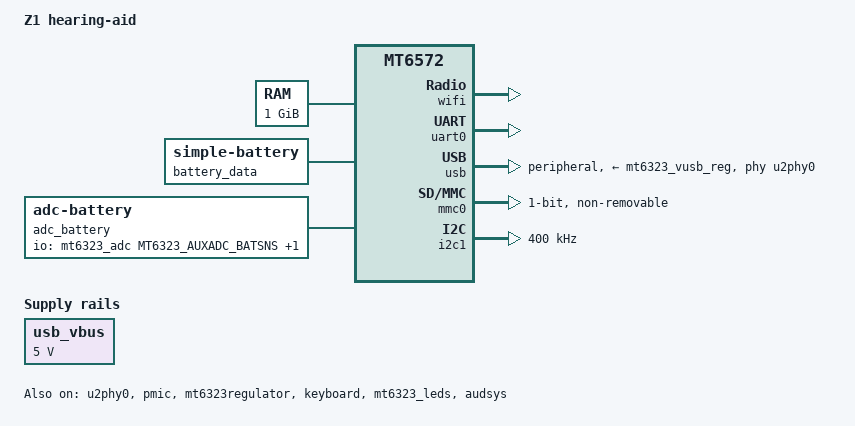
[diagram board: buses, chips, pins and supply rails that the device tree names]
// SPDX-License-Identifier: GPL-2.0
/*
 * Z1 / V100 hearing-aid device (佳伯听力机 Z1)
 * Based on mt6572-jty-d101.dts by Max Shevchenko.
 * Minimal bring-up Z1 dts: eMMC (mmc0) + UART + USB only.
 * Screen (ST7785M 240x320 DSI) intentionally disabled for first boot.
 */

/dts-v1/;
#include <dt-bindings/gpio/gpio.h>
#include <dt-bindings/input/input.h>
#include "mt6572.dtsi"
#include "mt6323.dtsi"

/ {
	model = "Z1 hearing-aid";
	compatible = "jbo,z1", "mediatek,mt6572";

	aliases {
		serial0 = &uart0;
	};

	chosen {
		#address-cells = <1>;
		#size-cells = <1>;
		ranges;
		/*
		 * Z1 diagnostic: do not instantiate an early console from DT.
		 * v13.4 correction (review W1, 2026-08-29): this LK does NOT
		 * forward the boot.img header --cmdline (board logs 8/26-27 show
		 * the kernel cmdline equals these DT bootargs verbatim), so the
		 * console selection lives HERE. The mainline 8250 registers the
		 * uart0 OF node as ttyS0 (alias serial0), not ttyMT0; the last
		 * console= wins /dev/console, so ttyS0 last gives the serial
		 * port both the kernel log tail and the final console getty.
		 */
		bootargs = "console=ttyS0,921600n8 root=/dev/ram panic=10 loglevel=7 clk_ignore_unused regulator_ignore_unused oops=panic sysrq_always_enabled rdinit=/init earlycon=mtk8250,0x11005000 androidboot.hardware=z1 androidboot.selinux=permissive firmware_class.path=/system/etc/firmware printk.devkmsg=on";
		/*
		 * Z1 LK relocates the MTK ROOTFS payload to 0x84100000.  Its
		 * ATAG_INITRD2 handoff is not present at runtime, so provide the
		 * measured range explicitly for this packaged logger ramdisk.
		 * RULE: linux,initrd-end MUST equal 0x84100000 + ramdisk payload
		 * byte count; it must be recomputed whenever the ramdisk is
		 * replaced or re-compressed, or the initrd gets truncated and
		 * the gzip stream aborts with "read error".
		 * Current payload: out/ramdisk_v13_5_acm.gz body is
		 * 1,269,042 (0x135d32) bytes (file is 1,269,554 B incl. the
		 * 512B MTK ROOTFS header), so end = 0x84100000 + 0x135d32.
		 * v13.3 ramdisk: /init rewritten to bind a mainline configfs
		 * CDC-ACM gadget -> /dev/ttyGS0 (replaces dead android_usb path).
		 * v13.3b: review fixes - full [acm] self-reporting (incl. ln -s
		 * result) and [ -e /dev/tty0 ] guard on the tty0 getty.
		 * v13.4: same /init as v13.3b + sbin/i2cprobe (narrow-address
		 * probe + read-only register dump) for the CST836U@0x15 /
		 * S6-FTS@0x38 touch identity evidence run.
		 * v13.4r (review fixes 2026-08-29): /init PID1 console getty now
		 * respawns in a loop (shell exit no longer kills PID1 -> panic
		 * reboot); i2cprobe binds I2C_SLAVE before SMBus quick (was
		 * probing stale client addr) and reports EBUSY distinctly;
		 * stray packaging artifact body_new.gz dropped from archive.
		 * v13.5 (2026-08-29): = v13.4r + klog-over-ACM forwarding — /init
		 * backgrounded setsid mirror: dmesg full ring dump then live
		 * tail -f /proc/kmsg to /dev/ttyGS0 ([klog] banners), kernel-log
		 * channel for S6 which has no UART testpoints.
		 */
		linux,initrd-start = <0x84100000>;
		linux,initrd-end = <0x842e1abf>;

		/* LK leaves OVL layer 2 scanning this 240x320 RGB565 surface. */
		framebuffer0: framebuffer@bfd00000 {
			compatible = "simple-framebuffer";
			reg = <0xbfd00000 0x28000>;
			width = <240>;
			height = <320>;
			stride = <512>;
			format = "r5g6b5";
		};
	};

	memory@80000000 {
		device_type = "memory";
		reg = <0x80000000 0x40000000>;
	};

	reserved-memory {
		#address-cells = <1>;
		#size-cells = <1>;
		ranges;

		/*
		 * CONN (WiFi/BT) carveout relocated from the original 0x80000000
		 * (right at RAM base) up to 0xbe000000 so it no longer shadows the
		 * low-RAM region the Z1 LK/preloader uses during early boot.
		 * Kept as 1 MiB no-map to match the old size.  The mt6572-connsys
		 * driver zeroes the "shared EMI" area it gets from connsys_pwr
		 * reg[1] (see below).
		 *
		 * NOTE: this EMI base relocation is a bring-up workaround -- the
		 * vendor CONN firmware may be built against a fixed shared-EMI
		 * base of 0x80080000.  If the CONN MCU misbehaves after this
		 * change, revert both this carveout AND connsys_pwr reg[1]
		 * together.
		 */
		connsys@be000000 {
			reg = <0xbe000000 0x100000>;
			no-map;
		};

		framebuffer_reserved: framebuffer@bf400000 {
			reg = <0xbf400000 0xc00000>;
			no-map;
		};

		default-pool {
			compatible = "shared-dma-pool";
			size = <0x6000000>;
			alloc-ranges = <0x90000000 0x10000000>;
			reusable;
			linux,cma-default;
		};
	};

	/*
	 * CONN (WiFi/BT) subsystem consumer. This node binds the in-tree
	 * driver drivers/soc/mediatek/mtk6572-connsys.c (compatible
	 * "mediatek,mt6572-connsys"): it powers VCN18/VCN28, powers on the
	 * MT6572 CONN SCPSYS domain (registered default-off in mt6572.dtsi),
	 * polls the CONN MCU chip ID at 0x18070000+0x8 and zeroes the shared
	 * EMI at 0xbe080000. Keep status="disabled" until the board bring-up
	 * sequence is gated-tested; also keep the 1 MiB reserved-memory
	 * carveout at 0xbe000000 (above) mapped when enabling.
	 *
	 * reg[1] is the shared EMI, relocated to 0xbe080000 to match the
	 * reserved-memory carveout above.  This is a temporary relocation:
	 * the vendor CONN firmware may be fixed at 0x80080000 -- if the CONN
	 * MCU does not come up, revert both reg[1] and the carveout together.
	 */
	connsys_pwr: connsys@18070000 {
		compatible = "mediatek,mt6572-connsys";
		reg = <0x18070000 0x1000>,
		      <0xbe080000 0x55c00>;	/* CONN MCU config + shared EMI */
		power-domains = <&spm MT6572_POWER_DOMAIN_CONN>;
		vcn18-supply = <&mt6323_vcn18_reg>;
		vcn28-supply = <&mt6323_vcn28_reg>;
		vcn33_bt-supply = <&mt6323_vcn33_bt_reg>;
		vcn33_wifi-supply = <&mt6323_vcn33_wifi_reg>;
		status = "disabled";
	};

	/*
	 * CONNSYS out-of-tree stack DT nodes (mt6572-connsys-modules, forward
	 * port of the vendor conn_soc family).  These bind the external .ko
	 * platform drivers:
	 *   btif@1100e000      -> mtk_btif_drv.ko  ("mediatek,btif")
	 *   connectivity@18070000 -> mtk_stp_wmt_soc.ko / mtk_wmt_wifi_soc.ko
	 *                        ("mediatek,mt6572-consys")
	 *   wifi@180f0000      -> wlan_gen2.ko     ("mediatek,wifi")
	 *
	 * IRQ numbers are the vendor MT6572 GIC SPI IDs (mt_irq.h,
	 * GIC_PRIVATE_SIGNALS + N): BTIF=52, APDMA-BTIF-TX=41, APDMA-BTIF-RX=42,
	 * CONN2AP/BTIF-wakeup=122, WF_HIF=123, CONN_WDT=124.
	 *
	 * The old in-tree connsys_pwr node above stays disabled: it binds
	 * drivers/soc/mediatek/mtk6572-connsys.c and must not double-power the
	 * CONN domain / regulators with this stack.
	 */
	btif: btif@1100e000 {
		compatible = "mediatek,btif";
		#address-cells = <1>;
		#size-cells = <1>;
		/*
		 * ranges needed: btif_rx/btif_tx child nodes are of_iomap'd by
		 * the vendor driver (hal_dma_set_default_setting). Without
		 * ranges, of_translate_one fails (drivers/of/address.c) and
		 * of_iomap returns NULL -> hal_btif_dma_hw_init Oopses on
		 * NULL base during CONNSYS func-on. Empty ranges = 1:1.
		 */
		ranges;
		reg = <0x1100e000 0x1000>,
		      <0x11000380 0x80>,
		      <0x11000400 0x80>;
		interrupts = <GIC_SPI 52 IRQ_TYPE_LEVEL_LOW>;
		clocks = <&topckgen CLK_TOP_BTIF>,
			 <&topckgen CLK_TOP_APDMA>;
		clock-names = "btifc", "apdmac";

		btif_tx: btif_tx@11000380 {
			compatible = "mediatek,btif_tx";
			reg = <0x11000380 0x80>;
			interrupts = <GIC_SPI 41 IRQ_TYPE_LEVEL_LOW>;
		};

		btif_rx: btif_rx@11000400 {
			compatible = "mediatek,btif_rx";
			reg = <0x11000400 0x80>;
			interrupts = <GIC_SPI 42 IRQ_TYPE_LEVEL_LOW>;
		};
	};

	connectivity: connectivity@18070000 {
		compatible = "mediatek,mt6572-consys";
		/*
		 * reg[0] = CONN MCU config (chip ID poll @ +0x8, expects 0x6572).
		 * reg[1] = TOPCKGEN block base: the driver does of_iomap(node,1)
		 * and pokes AP2CONN_OSC_EN at base+0x1800 (phys 0x10001800),
		 * so the range must cover 0x10001800.
		 */
		reg = <0x18070000 0x1000>,
		      <0x10000000 0x2000>;
		interrupts = <GIC_SPI 122 IRQ_TYPE_LEVEL_LOW>,	/* CONN2AP / BTIF wakeup */
			     <GIC_SPI 124 IRQ_TYPE_LEVEL_LOW>;	/* CONN WDT */
		mediatek,pwrap-regmap = <&pwrap>;
		power-domains = <&spm MT6572_POWER_DOMAIN_CONN>;
		resets = <&watchdog MT6572_TOPRGU_CONNSYS_SW_RST>;
		reset-names = "connsys";
		vcn18-supply = <&mt6323_vcn18_reg>;
		vcn28-supply = <&mt6323_vcn28_reg>;
		vcn33_bt-supply = <&mt6323_vcn33_bt_reg>;
		vcn33_wifi-supply = <&mt6323_vcn33_wifi_reg>;
	};

	wifi: wifi@180f0000 {
		compatible = "mediatek,wifi";
		reg = <0x180f0000 0x1000>;
		interrupts = <GIC_SPI 123 IRQ_TYPE_LEVEL_LOW>;
	};

	/*
	 * Audio front-end (AFE). Physical base 0x11140000 is the MT6572
	 * audsys block. This node binds the in-tree ASoC driver
	 * sound/soc/mediatek/mt6572/mt6572-afe-pcm.c (compatible
	 * "mediatek,mt6572-audio"): it maps the AFE registers, requests the
	 * "audio"/"audio_intbus_sel" topckgen clocks and wires the ASYS IRQ.
	 * Keep disabled until CONFIG_SND_SOC_MT6572 + the MT6323 codec path
	 * are ready; the IRQ below is an unverified placeholder (the driver
	 * notes the real ASYS/AFE IRQ number is not confirmed yet). The Z1
	 * machine card would be a separate "mediatek,mt6572-sound" node
	 * (mt6572-machine.c) referencing this node via "mediatek,platform".
	 */
	audsys: audio@11140000 {
		compatible = "mediatek,mt6572-audio";
		reg = <0x11140000 0x600>;
		clocks = <&topckgen CLK_TOP_AUDIO>,
			 <&topckgen CLK_TOP_AUDIO_INTBUS_SEL>;
		clock-names = "audio", "audio_intbus_sel";
		interrupts = <GIC_SPI 64 IRQ_TYPE_LEVEL_LOW>; /* vendor AudDrv IRQ (MT_AFE_IRQ_MCU_ID=GIC_SPI 64) */
		status = "okay";
	};

	/*
	 * Machine sound card (mt6572-machine.c, compatible
	 * "mediatek,mt6572-sound").  Binds the AFE platform (&audsys) to the
	 * MT6323 PMIC codec (&codec, a child of &pmic via mt6323.dtsi).
	 *
	 * ENABLE CONDITIONS (all three required):
	 *   - CONFIG_SND_SOC_MT6572=y/m and the mt6323 codec module built
	 *   - &audsys above set to status="okay" (AFE clocks/IRQ wired)
	 *   - pwrap write-deny lifted so the MT6323 codec register path works
	 * Once those hold, set status="okay" here (and on &audsys) to probe
	 * the card.  Until then this node is kept disabled so the DTS parses
	 * cleanly but no card is instantiated.
	 */
	sound: sound {
		compatible = "mediatek,mt6572-mt6323-sound";
		audio-routing = "Speaker", "Speaker", "Earpiece", "Earpiece";
		mediatek,platform = <&audsys>;
		mediatek,audio-codec = <&codec>;
		status = "okay";
	};

	/*
	 * Battery monitoring: static pack characteristics + ADC-backed meter.
	 *
	 * battery (simple-battery) holds only the static Z1 pack data.  The
	 * values below are a generic Li-ion 3.7 V / ~2000 mAh placeholder --
	 * TBC against the real Z1 battery on first physical measurement.
	 *
	 * adc_battery (adc-battery) reads two MT6323 AUXADC channels via
	 * &mt6323_adc (mediatek,mt6323-auxadc, a child of &pmic):
	 *   - BATSNS (channel 7)  -> "voltage"     (battery terminal voltage)
	 *   - BAT_TEMP (channel 2) -> "temperature" (battery temperature)
	 *
	 * Keep status="disabled" until the kernel is built with:
	 *   CONFIG_POWER_SUPPLY=y          (currently not set)
	 *   CONFIG_GENERIC_ADC_BATTERY=y   (adc-battery driver, not set)
	 *   CONFIG_MEDIATEK_MT6323_AUXADC=y (IIO auxadc channels, not set)
	 * Only CONFIG_IIO=y is enabled in the current Z1 .config; without
	 * MEDIATEK_MT6323_AUXADC there are no IIO channels for adc-battery
	 * to consume, so leave this disabled until those three are on.
	 */
	/*
	 * battery_data (simple-battery): static pack characteristics.
	 * Named "battery_data" so the ADC-backed meter can own the node
	 * name "battery" — Android's health HAL looks up
	 * /sys/class/power_supply/battery/, and generic-adc-battery names
	 * its supply after the DT node (psy_desc->name = dev_name).
	 */
	battery_data: battery_data {
		compatible = "simple-battery";
		charge-full-design-microamp-hours = <2000000>; /* TBC: Z1 pack */
		voltage-max-design-microvolt = <4200000>;
		voltage-min-design-microvolt = <3300000>;
		status = "okay";
	};

	/* The meter owns the "battery" name for the Android health HAL. */
	adc_battery: battery {
		compatible = "adc-battery";
		io-channels = <&mt6323_adc MT6323_AUXADC_BATSNS>,
			      <&mt6323_adc MT6323_AUXADC_BAT_TEMP>;
		io-channel-names = "voltage", "temperature";
		monitored-battery = <&battery_data>;
		/*
		 * Generic Li-ion open-circuit discharge curve (uV, %),
		 * voltage descending. TBC against the real Z1 pack; adjust
		 * after first on-device voltage/percentage comparison.
		 */
		voltage-capacity-table = <
			4200000 100
			4150000 95
			4100000 89
			4050000 83
			4000000 77
			3950000 70
			3900000 62
			3850000 53
			3800000 43
			3750000 33
			3700000 23
			3650000 13
			3600000 6
			3450000 2
			3300000 0
		>;
		status = "okay";
	};

	/*
	 * Z1 USB VBUS supply (fixed regulator).
	 * Z1 operates exclusively as a USB device (CDC-ACM gadget). The USB PHY
	 * requires a VBUS supply to detect host connection and enter device mode.
	 * Without this, the PHY probe succeeds but UDC registration fails silently
	 * because the VBUS comparator never signals "device ready" to the MUSB core.
	 *
	 * This is a fixed regulator marked always-on because Z1 has no physical
	 * VBUS switch — the USB connector is wired directly to the PHY, and VBUS
	 * is always present when connected to a host.
	 */
	usb_vbus: regulator-usb-vbus {
		compatible = "regulator-fixed";
		regulator-name = "usb-vbus";
		regulator-min-microvolt = <5000000>;
		regulator-max-microvolt = <5000000>;
		regulator-always-on;
	};
};

&uart0 {
	status = "okay";
};

&usb {
	status = "okay";
	dr_mode = "peripheral";  /* Z1 only acts as USB device (CDC-ACM gadget); never host */
	/*
	 * USB peripheral mode requires proper PHY initialization.
	 * The mt6572-usb2-phy driver performs HS slew-rate calibration
	 * which may timeout but continues with default values.
	 *
	 * VBUS supply: Z1 has no physical VBUS regulator; VBUS is provided
	 * by the USB host (PC). The PHY driver forces VBUS comparator on
	 * via software (reg 0x1a bit4). Adding explicit vbus-supply ensures
	 * the MUSB glue doesn't defer probe waiting for a regulator.
	 * If regulator framework can't find this supply, it auto-provides
	 * a dummy regulator that always returns success.
	 */
	phys = <&u2phy0>;
	phy-names = "usb2";
	vbus-supply = <&mt6323_vusb_reg>;
};

&u2phy0 {
	status = "okay";
	/*
	 * PHY probe happens early (0.097s in logs). The driver handles
	 * HS slew-rate calibration timeout gracefully with fallback values.
	 * No additional properties needed - reg and #phy-cells from base dtsi.
	 */
};

/*
 * PMIC subsystem bring-up (post eMMC): the MT6323 MFD exposes the power
 * key, RTC and regulators.  LK already left VEMC/VIO18 powered, so the
 * regulators probe read-only (the Z1 pwrap write-deny gate still blocks
 * MT6323 writes).  PMIC_EINT is GPIO7.
 */
&pmic {
	pinctrl-0 = <&pmic_int_pins>;
	pinctrl-names = "default";
	interrupts-extended = <&pio 7 IRQ_TYPE_LEVEL_HIGH>;
	status = "okay";
};

&mt6323regulator {
	status = "okay";
};

/*
 * eMMC VCC: LK leaves VEMC on, but the mmc0 node has no vmmc-supply and
 * the Z1 fork skips mmc_regulator_get_supply, so VEMC ends up with zero
 * consumers and regulator late-cleanup powers it off ~39.5s into boot.
 * That drops the eMMC rail and turns every subsequent block read into a
 * -110 R1B CMD6 busy abort.  Mark it always-on to keep the rail up.
 */
&mt6323_vemc3v3_reg {
	regulator-always-on;
};

/*
 * vmc/vmch (eMMC card power) + vusb (USB PHY): same zero-consumer trap as
 * VEMC.  mt6323.dtsi marks them regulator-boot-on (LK leaves them on) but
 * without always-on, regulator late-cleanup powers them off ~39.5s into boot
 * and the board resets (Jump to BL / preloader reboot loop).  Keep all three
 * on to stop the ~39s reboot cycle.  Z1 mmc0 has no vmmc-supply (fork skips
 * mmc_regulator_get_supply) so they have zero consumers and must be held up.
 */
&mt6323_vmc_reg {
	regulator-always-on;
};

&mt6323_vmch_reg {
	regulator-always-on;
};

&mt6323_vusb_reg {
	regulator-always-on;
};

/*
 * VGP1 = touch panel AVDD28 (2.8V) on Z1, and the exact same
 * zero-consumer trap as VEMC/VMC/VMCH/VUSB above -- but the one instance
 * that was left unfixed, and the reason every historical touch run failed.
 *
 * Evidence chain (2026-10-28, byte-level, see HANDOFF_20261028.md §4.1):
 *  - The only consumer in the whole tree is the (disabled) touchscreen@5d
 *    node: AVDD28-supply = <&mt6323_vgp1_reg>. The custom polled driver
 *    z1_cst836u.ko creates its own i2c client at runtime and therefore has
 *    NO devm_regulator_get() calls at all (grep: 0 hits) -- it never touches
 *    VGP1, it just assumes the rail is up.
 *  - z1_gpio_hunt.ko, the fallback hunter, says so in its own comments
 *    ("dts 已给 VGP1 加 always-on（上电根因已修）") -- but that edit was
 *    never actually made. Both drivers assume someone else powered it.
 *  - So VGP1 has zero consumers, mt6323.dtsi does NOT mark it boot-on
 *    (unlike vmc/vmch/vusb), and regulator late-cleanup leaves it off.
 *    Touch then NACKs at 0x15 forever: ENXIO = unpowered.
 *
 * This makes regulator_register() call _regulator_do_enable() directly at
 * probe time (drivers/regulator/core.c:1647-1685), so AVDD28 is up long
 * before z1_touch_load.sh runs in "on post-fs".
 *
 * Do NOT remove without replacing it with an explicit enable somewhere:
 * the driver does not enable it itself, so dropping this silently returns
 * the board to "touch chip absent or unpowered".
 */
&mt6323_vgp1_reg {
	regulator-always-on;
};

/*
 * PMIC power/home keys.  The MT6323 "home" key maps to KEY_VOLUMEDOWN (114)
 * which duplicates the matrix keypad MATRIX_KEY(1, 0, KEY_VOLUMEDOWN) (see
 * &keyboard).  Disable the PMIC home key so volume-down is reported once;
 * the PMIC power key (KEY_POWER, 116) stays enabled.
 */
&mt6323keys {
	power-off-time-sec = <5>;
	home {
		status = "disabled";
	};
};

&pwrap {
	assigned-clocks = <&topckgen CLK_TOP_PMIC_SPI_SEL>;
	assigned-clock-parents = <&uart_clk>;
};

&mmc0 {
	compatible = "mediatek,mt6572-mmc",
		     "mediatek,mt7623-mmc",
		     "mediatek,mt2701-mmc";
	pinctrl-0 = <&mmc0_pins>;
	pinctrl-names = "z1-validated";
	bus-width = <1>;
	max-frequency = <50000000>;
	no-sd;
	no-sdio;
	non-removable;
	status = "okay";
};

&pio {
	pmic_int_pins: pmic-int-pins {
		pins {
			pinmux = <MT6572_PIN_7_PMIC_EINT__FUNC_PMIC_EINT>;
			input-enable;
			bias-pull-down;
		};
	};

	pwrap_pins: pwrap-pins {
		pins {
			pinmux = <MT6572_PIN_8_PMIC_SPI_CSN__FUNC_PMIC_SPI_CSN>,
				 <MT6572_PIN_9_PMIC_SPI_SCK__FUNC_PMIC_SPI_SCK>,
				 <MT6572_PIN_10_PMIC_SPI_MOSI__FUNC_PMIC_SPI_MOSI>,
				 <MT6572_PIN_11_PMIC_SPI_MISO__FUNC_PMIC_SPI_MISO>;
		};
	};

	i2c1_pins: i2c1-pins {
		pins {
			pinmux = <MT6572_PIN_113_SCL_1_0__FUNC_SCL_1_0>,
				 <MT6572_PIN_114_SDA_1_0__FUNC_SDA_1_0>;
		};
	};

	kpd_pins: kpd-pins {
		pins {
			pinmux = <MT6572_PIN_107_KCOL0__FUNC_KCOL0>,
				 <MT6572_PIN_108_KCOL1__FUNC_KCOL1>,
				 <MT6572_PIN_109_KCOL2__FUNC_KCOL2>,
				 <MT6572_PIN_110_KROW0__FUNC_KROW0>,
				 <MT6572_PIN_111_KROW1__FUNC_KROW1>,
				 <MT6572_PIN_112_KROW2__FUNC_KROW2>,
				 <MT6572_PIN_142_BPI_BUS12__FUNC_KROW3>,
				 <MT6572_PIN_143_BPI_BUS13__FUNC_KROW4>;
			input-enable;
			bias-pull-up;
		};
	};

	mmc0_pins: mmc0-pins {

		pins-clk {
			pinmux = <MT6572_PIN_44_MC0_CK__FUNC_MC0_CK>;
			bias-pull-down = <MTK_PUPD_SET_R1R0_10>;
			/* Vendor eMMC setup uses 6 mA for CLK/CMD/DAT. */
			drive-strength = <6>;
		};

		pins-cmd-dat {
			pinmux = <MT6572_PIN_45_MC0_CMD__FUNC_MC0_CMD>,
				 <MT6572_PIN_46_MC0_DAT0__FUNC_MC0_DAT0>;
			input-enable;
			bias-pull-up = <MTK_PUPD_SET_R1R0_01>;
			/* Vendor eMMC setup uses 6 mA for CLK/CMD/DAT. */
			drive-strength = <6>;
		};

		/*
		 * Keep eMMC RST_n deasserted. Pin 54 is PULLSEL-type on
		 * MT6572 (not R1R0), so use plain bias-pull-up rather than
		 * Prestigio's R1R0 encoding that would -ENOTSUPP. Stage A
		 * still only talks CMD/DAT0; RST is held high.
		 */
		pins-rst {
			pinmux = <MT6572_PIN_54_MC0_RSTB__FUNC_MC0_RSTB>;
			bias-pull-up;
		};
	};
};

&keyboard {
	status = "okay";
	pinctrl-names = "default";
	pinctrl-0 = <&kpd_pins>;
	/* Z1 keypad matrix fixed at 8 rows x 9 cols (72-slot table) */
	keypad,num-rows = <8>;
	keypad,num-columns = <9>;
	debounce-delay-ms = <32>;
	linux,keymap = <
		MATRIX_KEY(0, 0, KEY_VOLUMEDOWN)	/* idx0: 114 */
		MATRIX_KEY(0, 1, 251)		/* idx1: 251 */
		MATRIX_KEY(0, 2, 250)		/* idx2: 250 */
		MATRIX_KEY(1, 0, KEY_VOLUMEUP)		/* idx9: 115 */
		MATRIX_KEY(1, 1, 252)		/* idx10: 252 */
		MATRIX_KEY(2, 0, 106)		/* idx18: 106 */
		MATRIX_KEY(2, 1, 232)		/* idx19: 232 */
		MATRIX_KEY(2, 2, 105)		/* idx20: 105 */
		MATRIX_KEY(3, 1, KEY_UP)		/* idx28: 103 */
		MATRIX_KEY(4, 0, KEY_BACK)		/* idx36: 158 */
		MATRIX_KEY(4, 1, KEY_DOWN)		/* idx37: 108 */
		MATRIX_KEY(4, 2, 254)		/* idx38: 254 */
	>;
};

&i2c1 {
	status = "okay";
	pinctrl-0 = <&i2c1_pins>;
	pinctrl-names = "default";
	clock-frequency = <400000>;

	/*
	 * Touch identity evidence (updated 2026-08-29, see
	 * mainline_recon/TOUCH_CST836U_20260829.md):
	 * - Factory kernel carries a Hynitron CST836U driver ("HYN_CST836U_
	 *   DWZN_MT6572_4.4_V1.0_20181106" inside 1/boot.img) and the vendor
	 *   runtime probed hyn_ts at I2C1 0x15 (probe FAILED, physical
	 *   presence unproven).
	 * - EdgeTX upstream (radio/src/targets/pl18/touch_driver.cpp) drives a
	 *   CST836U at 0x15 with an FT6206-style 8-bit-register protocol:
	 *   0x02 touch count, 0x03..06 XH/XL/YH/YL (12-bit, event bits 7:6,
	 *   contact=2), identity at 0xa6-0xab.  => the in-tree edt-ft5x06
	 *   driver with compatible "focaltech,ft6236" is the match; the two
	 *   hynitron-* drivers in-tree are NOT (CST3XX 16-bit / CST816S 0x01
	 *   protocols).  CONFIG_TOUCHSCREEN_EDT_FT5X06=m is already set.
	 * - Reset/IRQ GPIOs remain UNPROVEN for Z1 (128/129 are reference-
	 *   board values), so no client node is enabled yet: v13.4 ships
	 *   sbin/i2cprobe; run on-board (serial shell):
	 *     i2cprobe /dev/i2c-1 0x15
	 *     i2cprobe /dev/i2c-1 dump 0x15 0xa6 6   # FW/module/project/chip-id
	 * Enable the ft6236 node only after that evidence and proven GPIOs.
	 * GT911 stays disabled (audit: factory-image evidence outranks the
	 * cci72_we_jb3 reference-board guess).
	 */
	touchscreen@5d {
		status = "disabled";
		compatible = "goodix,gt911";
		reg = <0x5d>;

		interrupt-parent = <&pio>;
		interrupts = <1 IRQ_TYPE_EDGE_RISING>;
		irq-gpios = <&pio 129 GPIO_ACTIVE_HIGH>;
		reset-gpios = <&pio 128 GPIO_ACTIVE_HIGH>;

		AVDD28-supply = <&mt6323_vgp1_reg>;
		VDDIO-supply = <&mt6323_vio18_reg>;

		/* TBC on-board: Z1 actual touch panel resolution */
		touchscreen-size-x = <240>;
		touchscreen-size-y = <320>;
		touchscreen-inverted-x;

		/* 3 Android capacitive keys: Back/Home/MultiTask (no Search) */
		goodix,keymap = <KEY_BACK KEY_HOME KEY_APPSELECT 0 0 0 0>;
	};
};

/*
 * Z1 display panel (Sitronix ST7785M 240x320 DSI) -- DT preparation only.
 *
 * The ST7785M is the Z1 screen. This child node is a placeholder; it stays
 * disabled because the whole DSI path is not ready on mainline yet:
 *   - &dsi (mediatek,mt6572-dsi) is still status="disabled" in mt6572.dtsi
 *   - requires CONFIG_DRM_MEDIATEK (mtk_drm + mtk_dsi) plus a working
 *     mt6572-m4u IOMMU and the DIS power domain
 *   - during current bring-up the LK-composed framebuffer is driven via the
 *     simple-framebuffer in chosen/framebuffer0 above, not DRM
 *
 * To enable on-board later: set &dsi { status = "okay"; }, remove
 * status="disabled" here, and wire up panel power/backlight (ST7785M usually
 * needs a reset GPIO + AVDD rail).
 */
&dsi {
	#address-cells = <1>;
	#size-cells = <0>;

	panel@0 {
		compatible = "sitronix,st7785m";
		reg = <0>;
		status = "disabled";
	};
};

/*
 * Z1 backlight: the display backlight is driven by the MT6323 ISINK
 * current sinks (leds-mt6323). The LCD panel's LED string hangs off
 * ISINK0; brightness control is the LED sysfs class
 * (/sys/class/leds/<name>/brightness), matching the vendor 4.4
 * /sys/class/leds/lcd-backlight path.
 */
&mt6323_leds {
	status = "okay";
	/* ISINK0 is the LCD backlight channel on the Z1 board. */
	isink0 {
		reg = <0>;
		label = "lcd-backlight";
		linux,default-trigger = "backlight";
		default-state = "on";
	};
};
